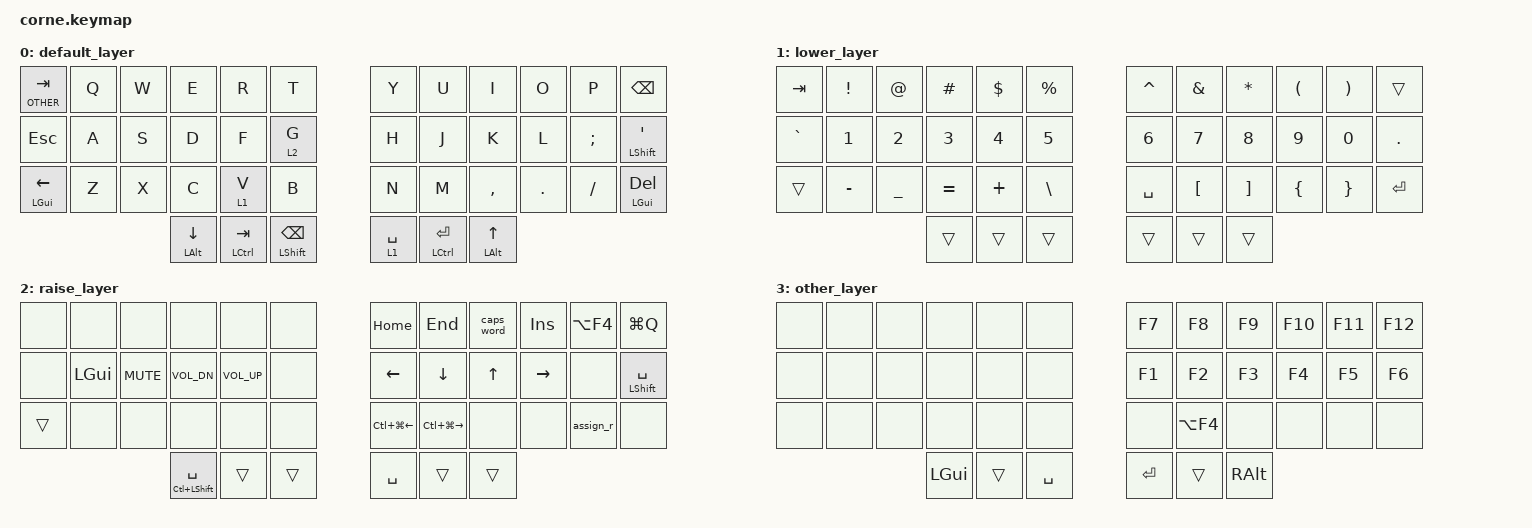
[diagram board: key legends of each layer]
/*
 * Copyright (c) 2020 The ZMK Contributors
 *
 * SPDX-License-Identifier: MIT
 */

#include <behaviors.dtsi>
#include <dt-bindings/zmk/keys.h>
#include <dt-bindings/zmk/bt.h>
#include <dt-bindings/zmk/backlight.h>

#define DEFAULT 0
#define LOWER   1
#define RAISE   2
#define OTHER   3


/ {

     macros {
         assign_r: assign_r {
             compatible = "zmk,behavior-macro";
             label = "ASSIGN_R";
             #binding-cells = <0>;
             bindings = <&kp SPACE &kp LT &kp MINUS  &kp SPACE>;
         };
     };

};


/ {
        behaviors {
          tp: tap_preferred {
            compatible = "zmk,behavior-hold-tap";
            label = "TAP_PREFERRED";
            #binding-cells = <2>;
            tapping-term-ms = <150>;
            quick-tap-ms = <0>;
            flavor = "tap-preferred";
            bindings = <&kp>, <&kp>;
          };
        };


        keymap {
                compatible = "zmk,keymap";

                default_layer {
                        bindings = <
                                           &lt OTHER TAB     &kp Q      &kp W      &kp E           &kp R        &kp T              &kp Y             &kp U              &kp I              &kp O       &kp P        &kp BSPC
                                           &kp ESC           &kp A      &kp S      &kp D           &kp F        &lt 2 G            &kp H             &kp J              &kp K              &kp L       &kp SEMI     &mt LSHIFT SQT
                                           &mt LGUI LEFT     &kp Z      &kp X      &kp C           &lt 1 V      &kp B              &kp N             &kp M              &kp COMMA          &kp DOT     &kp FSLH     &mt LGUI DEL

                                                                          &mt LALT DOWN  &mt LCTRL TAB &mt LSHIFT BSPC              &lt 1 SPACE &mt LCTRL ENTER &mt LALT UP
                         >;
                         };


                lower_layer {
                        bindings = <
                                          &kp TAB           &kp EXCL    &kp AT      &kp HASH       &kp DLLR     &kp PRCNT          &kp CARET          &kp AMPS          &kp STAR          &kp LPAR    &kp RPAR   &trans
                                          &kp GRAVE         &kp N1      &kp N2      &kp N3         &kp N4       &kp N5             &kp N6             &kp N7            &kp N8            &kp N9      &kp N0     &kp DOT
                                          &trans            &kp MINUS   &kp UNDER   &kp EQUAL      &kp PLUS     &kp BSLH           &kp SPACE          &kp LBKT          &kp RBKT          &kp LBRC    &kp RBRC   &kp ENTER

                                                                                         &trans        &trans       &trans         &trans  &trans   &trans
                        >;
                };

                raise_layer {

                        bindings = <

                                         &none             &none         &none       &none           &none          &none             &kp HOME          &kp END           &caps_word         &kp INS        &kp LA(F4)      &kp LG(Q)
                                         &none             &kp LGUI      &kp K_MUTE  &kp K_VOL_DN    &kp K_VOL_UP   &none             &kp LEFT          &kp DOWN          &kp UP             &kp RIGHT      &none       &mt LSHIFT SPACE
                                         &trans            &none         &none       &none           &none          &none             &kp LC(LG(LEFT))  &kp LC(LG(RIGHT)) &none              &none          &assign_r    &none

                                                                           &tp LC(LSHIFT) SPACE      &trans         &trans            &kp SPACE   &trans     &trans

                        >;
                };

          other_layer {
                     bindings = <
                                        &none             &none         &none       &none           &none           &none               &kp F7           &kp F8             &kp F9           &kp F10        &kp F11     &kp F12
                                        &none             &none         &none       &none           &none           &none               &kp F1           &kp F2             &kp F3           &kp F4         &kp F5       &kp F6
                                        &none             &none         &none       &none           &none           &none               &none            &kp LA(F4)         &none            &none          &none       &none

                                                                                           &kp LGUI  &trans   &kp SPACE                  &kp RET    &trans    &kp RALT
                      >;
        


                };


          
                
        };
};
